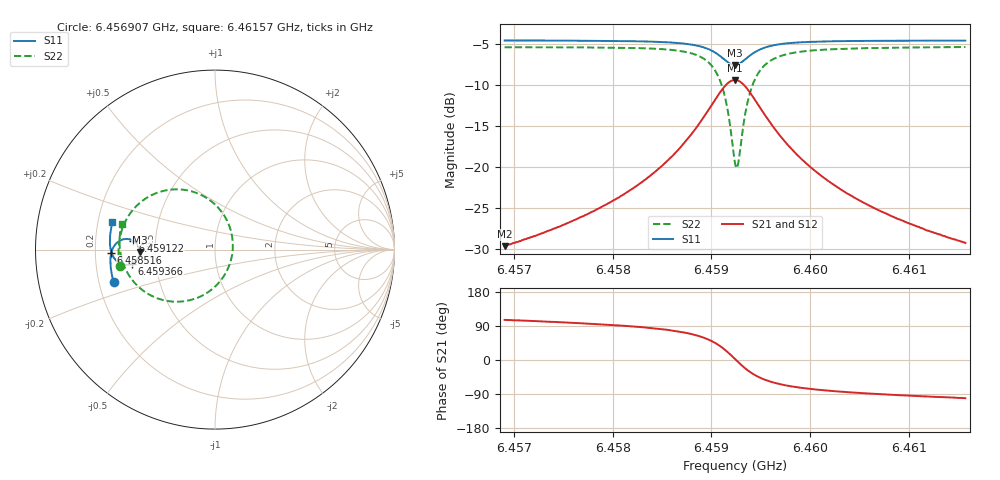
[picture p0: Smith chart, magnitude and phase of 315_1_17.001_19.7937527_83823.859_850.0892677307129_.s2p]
#  HZ  S  RI  R  50.00
! Rohde & Schwarz Vector Network Analyzer
! Rohde-Schwarz,ZNB20-2Port,1311601062101988,3.16
! Created: UTC 3/20/2024, 11:06:10 PM
! freq[Hz]  re:S11  im:S11  re:S21  im:S21  re:S12  im:S12  re:S22  im:S22
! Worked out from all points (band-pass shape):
!   401 points, 6.456907 GHz to 6.46157 GHz, reference 50 ohm
!   highest |S21| = -9.36 dB at 6.459238 GHz (marker M1); lowest = -29.6 dB at 6.456907 GHz (marker M2)
!   |S21| within 3 dB of the highest: 6.459005 GHz to 6.459471 GHz (466.2 kHz wide, 0.00722 % of centre)
!   lowest |S11| = -7.5 dB at 6.459238 GHz (marker M3), VSWR 2.45, Z = 20.4 - j0.637 ohm
!   |S11| at or under -10 dB: nowhere
!   |S22| runs from -20.1 to -5.4 dB; largest |S21 - S12| = 0.013
!   S11 on the Smith chart (normalised r, x): 6.456907 GHz: 0.26, -0.14; 6.458516 GHz: 0.27, -0.02; 6.459122 GHz: 0.37, +0.05; 6.459366 GHz: 0.37, -0.07; 6.46157 GHz: 0.26, +0.12
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6.456907e9  -0.5648 -0.1778  -0.00895 0.0318  -0.00733 0.0318  -0.5309 -0.09
6.457688e9  -0.5798 -0.1098  -0.00591 0.0495  -0.00343 0.049  -0.5373 0.000285
6.4580843e9  -0.583 -0.0706  -0.00101 0.0668  0.0023 0.0656  -0.5311 0.0611
6.4584689e9  -0.5798 -0.0254  0.0134 0.0972  0.0173 0.0946  -0.5054 0.1444
6.4585156e9  -0.5783 -0.0191  0.0166 0.1027  0.0206 0.0998  -0.4993 0.1575
6.4587254e9  -0.5664 0.0129  0.0422 0.1341  0.0464 0.1294  -0.4514 0.2284
6.4588769e9  -0.5455 0.0393  0.0842 0.1642  0.0877 0.1577  -0.3743 0.2922
6.4590284e9  -0.4997 0.0591  0.175 0.1833  0.1759 0.1759  -0.2092 0.3359
6.4591217e9  -0.4554 0.0493  0.2637 0.1527  0.2641 0.1467  -0.0456 0.2869
6.4591683e9  -0.4344 0.0307  0.307 0.1107  0.3082 0.1053  0.0357 0.2121
6.4592383e9  -0.4196 -0.0128  0.3399 0.0154  0.3433 0.00825  0.0994 0.0359
6.4592499e9  -0.4201 -0.0208  0.3398 -0.00217  0.3434 -0.00999  0.099 0.00299
6.4592732e9  -0.4235 -0.0362  0.3344 -0.0365  0.338 -0.0456  0.0882 -0.0614
6.4593315e9  -0.4439 -0.0669  0.2969 -0.1075  0.2982 -0.1197  0.0126 -0.1941
6.4593665e9  -0.4607 -0.078  0.2651 -0.136  0.2641 -0.149  -0.0513 -0.2454
6.4594597e9  -0.5034 -0.0848  0.1818 -0.1668  0.1757 -0.1782  -0.2163 -0.2905
6.4596113e9  -0.547 -0.0645  0.0953 -0.1537  0.087 -0.1597  -0.3802 -0.2424
6.4597745e9  -0.5683 -0.0368  0.0512 -0.1263  0.0436 -0.1291  -0.4592 -0.1718
6.4600192e9  -0.581 -0.00132  0.0224 -0.0955  0.0167 -0.0961  -0.5064 -0.0907
6.4603689e9  -0.5857 0.0399  0.00641 -0.0691  0.00236 -0.0688  -0.5276 -0.0126
6.4608002e9  -0.5838 0.083  -0.00124 -0.051  -0.00413 -0.0502  -0.5317 0.0552
6.4615696e9  -0.5715 0.151  -0.00651 -0.0339  -0.00813 -0.0332  -0.5202 0.1449
